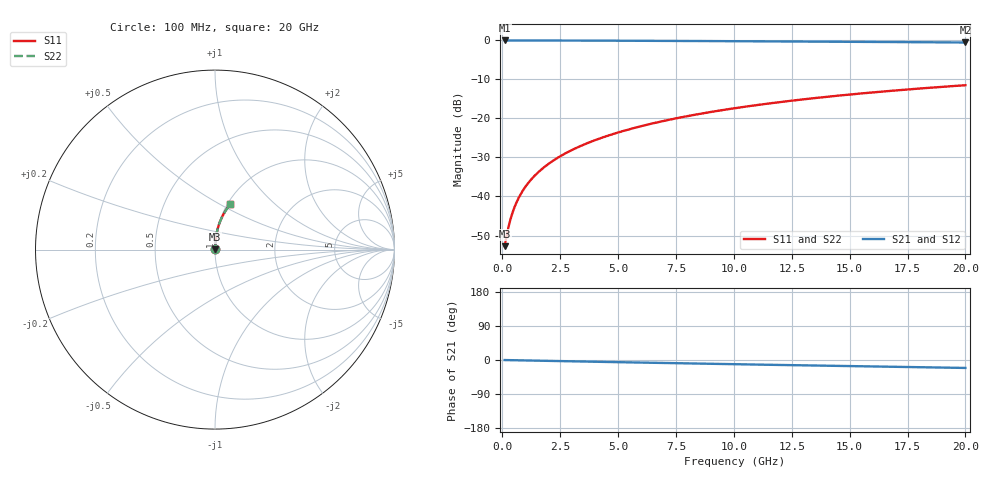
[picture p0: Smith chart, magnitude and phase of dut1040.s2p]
! Touchstone file exported from HFSS 2024.1.0
!  File:  C:/UserFiles/LocalFiles/RDL_TSV_Batchsim/temp_RDL_bottom_1040_1780051533.aedt
!  Generated:  06:48:06 PM May 29, 2026
!  Design:  RDL_bottom
!  Project:  temp_RDL_bottom_1040_1780051533
!  Setup:  Setup1
!  Solution:  Sweep
! Variables:
!  dtsv = 10.80580581um
!  hbump = 3um
!  htsv = 50.93um
!  ldown = 224.72um
!  lrdl = 100um
!  p = 40
!  p1 = 54.29um
!  rhole = 1um
!  t = 450um
!  tdown = 3.03um
!  trdl = 3.915915916um
!  wdown = 15.82um
!  wrdl = 20um
# GHz S MA R 50.000000
! Terminal data exported
! Port[1] = RDL1_T1
! Port[2] = RDL1_T2
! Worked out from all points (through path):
!   200 points, 100 MHz to 20 GHz, reference 50 ohm
!   highest |S21| = -0.02 dB at 100 MHz (marker M1); lowest = -0.5 dB at 20 GHz (marker M2)
!   group delay of S21, straight-line fit = 2.89 ps
!   lowest |S11| = -52.7 dB at 100 MHz (marker M3), VSWR 1.00, Z = 50.2 + j0.136 ohm
!   |S11| at or under -10 dB: start of sweep to end of sweep
!   |S22| runs from -52.7 to -11.5 dB; largest |S21 - S12| = 4.3e-15
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0.1  0.00231 36.1  0.9981 -0.1  0.9981 -0.1  0.00231 36.1
! Gamma 0 0 0 0
! Port Impedance 50 0 50 0
0.2  0.003282 55.1  0.9981 -0.2  0.9981 -0.2  0.003286 55.2
0.3  0.004448 64.7  0.998 -0.4  0.998 -0.4  0.004453 64.7
0.4  0.005683 70.1  0.998 -0.5  0.998 -0.5  0.005689 70.1
0.5  0.006945 73.5  0.9979 -0.6  0.9979 -0.6  0.006951 73.5
0.6  0.008219 75.8  0.9978 -0.7  0.9978 -0.7  0.008224 75.8
0.8  0.01078 78.7  0.9977 -0.9  0.9977 -0.9  0.01078 78.7
1.1  0.01462 81.2  0.9975 -1.3  0.9975 -1.3  0.01462 81.2
1.5  0.01977 83.0  0.9971 -1.8  0.9971 -1.8  0.01977 83.0
1.8  0.02364 83.8  0.9968 -2.1  0.9968 -2.1  0.02364 83.8
2.1  0.02754 84.4  0.9965 -2.5  0.9965 -2.5  0.02754 84.4
2.7  0.03537 85.1  0.9956 -3.1  0.9956 -3.1  0.03537 85.1
3.5  0.04594 85.4  0.9943 -4.1  0.9943 -4.1  0.04594 85.4
4.2  0.05528 85.4  0.9929 -4.8  0.9929 -4.8  0.05528 85.4
5  0.06606 85.2  0.9911 -5.7  0.9911 -5.7  0.06606 85.2
5.9  0.0783 84.7  0.9888 -6.7  0.9888 -6.7  0.0783 84.7
6.8  0.09063 84.2  0.9864 -7.7  0.9864 -7.7  0.09063 84.2
8.3  0.1113 83.0  0.982 -9.3  0.982 -9.3  0.1113 83.0
10.1  0.1361 81.4  0.9764 -11.2  0.9764 -11.2  0.1361 81.4
13.4  0.181 78.1  0.9652 -14.5  0.9652 -14.5  0.1811 78.1
16.7  0.2247 74.8  0.9531 -17.8  0.9531 -17.8  0.2247 74.8
20  0.2666 71.5  0.94 -20.9  0.94 -20.9  0.2666 71.5
